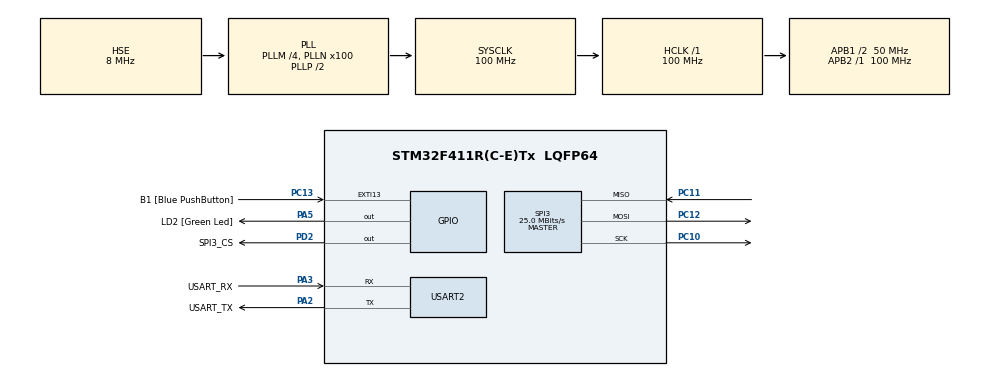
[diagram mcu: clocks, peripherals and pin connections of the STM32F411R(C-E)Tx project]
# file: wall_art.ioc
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Mcu.Family=STM32F4
Mcu.Name=STM32F411R(C-E)Tx
Mcu.Package=LQFP64
NVIC.PriorityGroup=NVIC_PRIORITYGROUP_0
NVIC.USART2_IRQn=true\:0\:0\:false\:false\:true\:true\:true
PA13.GPIO_Label=TMS
PA13.Mode=Serial_Wire
PA13.Signal=SYS_JTMS-SWDIO
PA14.GPIO_Label=TCK
PA14.Mode=Serial_Wire
PA14.Signal=SYS_JTCK-SWCLK
PA2.GPIO_Label=USART_TX
PA2.Mode=Asynchronous
PA2.Signal=USART2_TX
PA3.GPIO_Label=USART_RX
PA3.Mode=Asynchronous
PA3.Signal=USART2_RX
PA5.GPIO_Label=LD2 [Green Led]
PA5.Signal=GPIO_Output
PB3.GPIO_Label=SWO
PB3.Signal=SYS_JTDO-SWO
PC10.Mode=Full_Duplex_Master
PC10.Signal=SPI3_SCK
PC11.Mode=Full_Duplex_Master
PC11.Signal=SPI3_MISO
PC12.Mode=Full_Duplex_Master
PC12.Signal=SPI3_MOSI
PC13-ANTI_TAMP.GPIO_Label=B1 [Blue PushButton]
PC13-ANTI_TAMP.GPIO_ModeDefaultEXTI=GPIO_MODE_IT_FALLING
PC13-ANTI_TAMP.Signal=GPXTI13
PC14-OSC32_IN.Mode=LSE-External-Oscillator
PC14-OSC32_IN.Signal=RCC_OSC32_IN
PC15-OSC32_OUT.Mode=LSE-External-Oscillator
PC15-OSC32_OUT.Signal=RCC_OSC32_OUT
PD2.GPIO_Label=SPI3_CS
PD2.PinState=GPIO_PIN_SET
PD2.Signal=GPIO_Output
PH0\ -\ OSC_IN.Mode=HSE-External-Oscillator
PH0\ -\ OSC_IN.Signal=RCC_OSC_IN
PH1\ -\ OSC_OUT.Mode=HSE-External-Oscillator
PH1\ -\ OSC_OUT.Signal=RCC_OSC_OUT
ProjectManager.HeapSize=0x200
ProjectManager.StackSize=0x400
ProjectManager.TargetToolchain=STM32CubeIDE
RCC.48MHZClocksFreq_Value=50000000
RCC.AHBFreq_Value=100000000
RCC.APB1CLKDivider=RCC_HCLK_DIV2
RCC.APB1Freq_Value=50000000
RCC.APB1TimFreq_Value=100000000
RCC.APB2Freq_Value=100000000
RCC.APB2TimFreq_Value=100000000
RCC.CortexFreq_Value=100000000
RCC.FLatency-AdvancedSettings=FLASH_LATENCY_3
RCC.HCLKFreq_Value=100000000
RCC.HSE_VALUE=8000000
RCC.HSI_VALUE=16000000
RCC.PLLM=4
RCC.PLLN=100
RCC.PLLSourceVirtual=RCC_PLLSOURCE_HSE
RCC.RCC_RTC_Clock_Source=RCC_RTCCLKSOURCE_LSE
RCC.RCC_RTC_Clock_SourceVirtual=RCC_RTCCLKSOURCE_LSE
RCC.SYSCLKFreq_VALUE=100000000
RCC.SYSCLKSource=RCC_SYSCLKSOURCE_PLLCLK
RCC.VCOOutputFreq_Value=200000000
SPI3.CalculateBaudRate=25.0 MBits/s
SPI3.Direction=SPI_DIRECTION_2LINES
SPI3.Mode=SPI_MODE_MASTER
SPI3.VirtualType=VM_MASTER
USART2.VirtualMode=VM_ASYNC
VP_RTC_VS_RTC_Activate.Mode=RTC_Enabled
VP_TIM1_VS_ClockSourceINT.Mode=Internal
board=NUCLEO-F411RE

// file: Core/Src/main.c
/* USER CODE BEGIN Header */
/**
 ******************************************************************************
 * @file           : main.c
 * @brief          : Main program body
 ******************************************************************************
 * @attention
 *
 * <h2><center>&copy; Copyright (c) 2019 STMicroelectronics.
 * All rights reserved.</center></h2>
 *
 * This software component is licensed by ST under BSD 3-Clause license,
 * the "License"; You may not use this file except in compliance with the
 * License. You may obtain a copy of the License at:
 *                        opensource.org/licenses/BSD-3-Clause
 *
 ******************************************************************************
 */
/* USER CODE END Header */

#include "main.h"

/* USER CODE BEGIN Includes */
#include <stdio.h>
#include "Utils/terminal.h"
#include "ws2812.h"
#include "cpp_run.h"
/* USER CODE END Includes */

RTC_HandleTypeDef hrtc;

SPI_HandleTypeDef hspi3;

TIM_HandleTypeDef htim1;

UART_HandleTypeDef huart2;

void SystemClock_Config(void);
static void MX_GPIO_Init(void);
static void MX_USART2_UART_Init(void);
static void MX_RTC_Init(void);
static void MX_SPI3_Init(void);
static void MX_TIM1_Init(void);

int main(void)
{

  /* MCU Configuration--------------------------------------------------------*/

  /* Reset of all peripherals, Initializes the Flash interface and the Systick. */
  HAL_Init();

  /* Configure the system clock */
  SystemClock_Config();

  /* Initialize all configured peripherals */
  MX_GPIO_Init();
  MX_USART2_UART_Init();
  MX_RTC_Init();
  MX_SPI3_Init();
  MX_TIM1_Init();
  /* USER CODE BEGIN 2 */

    setbuf(stdout, 0);
    printf("LED Wall art\n");
    printf("SYSCLOCK: %lu Hz\n", HAL_RCC_GetSysClockFreq());
    printf("HCLOCK  : %lu Hz\n", HAL_RCC_GetHCLKFreq());
    printf("P1CLOCK : %lu Hz\n", HAL_RCC_GetPCLK1Freq());
    printf("P2CLOCK : %lu Hz\n", HAL_RCC_GetPCLK2Freq());

    terminal_init("art $");

    ws2812b_init();
    cpp_init();
  /* USER CODE END 2 */

  /* Infinite loop */
  /* USER CODE BEGIN WHILE */

    while (1)
    {
        terminal_run();
        cpp_run();
    /* USER CODE END WHILE */

    }
}

void SystemClock_Config(void)
{
  RCC_OscInitTypeDef RCC_OscInitStruct = {0};
  RCC_ClkInitTypeDef RCC_ClkInitStruct = {0};
  RCC_PeriphCLKInitTypeDef PeriphClkInitStruct = {0};

  /** Configure the main internal regulator output voltage
  */
  __HAL_RCC_PWR_CLK_ENABLE();
  __HAL_PWR_VOLTAGESCALING_CONFIG(PWR_REGULATOR_VOLTAGE_SCALE1);
  /** Initializes the CPU, AHB and APB busses clocks
  */
  RCC_OscInitStruct.OscillatorType = RCC_OSCILLATORTYPE_HSE|RCC_OSCILLATORTYPE_LSE;
  RCC_OscInitStruct.HSEState = RCC_HSE_ON;
  RCC_OscInitStruct.LSEState = RCC_LSE_ON;
  RCC_OscInitStruct.PLL.PLLState = RCC_PLL_ON;
  RCC_OscInitStruct.PLL.PLLSource = RCC_PLLSOURCE_HSE;
  RCC_OscInitStruct.PLL.PLLM = 4;
  RCC_OscInitStruct.PLL.PLLN = 100;
  RCC_OscInitStruct.PLL.PLLP = RCC_PLLP_DIV2;
  RCC_OscInitStruct.PLL.PLLQ = 4;
  if (HAL_RCC_OscConfig(&RCC_OscInitStruct) != HAL_OK)
  {
    Error_Handler();
  }
  /** Initializes the CPU, AHB and APB busses clocks
  */
  RCC_ClkInitStruct.ClockType = RCC_CLOCKTYPE_HCLK|RCC_CLOCKTYPE_SYSCLK
                              |RCC_CLOCKTYPE_PCLK1|RCC_CLOCKTYPE_PCLK2;
  RCC_ClkInitStruct.SYSCLKSource = RCC_SYSCLKSOURCE_PLLCLK;
  RCC_ClkInitStruct.AHBCLKDivider = RCC_SYSCLK_DIV1;
  RCC_ClkInitStruct.APB1CLKDivider = RCC_HCLK_DIV2;
  RCC_ClkInitStruct.APB2CLKDivider = RCC_HCLK_DIV1;

  if (HAL_RCC_ClockConfig(&RCC_ClkInitStruct, FLASH_LATENCY_3) != HAL_OK)
  {
    Error_Handler();
  }
  PeriphClkInitStruct.PeriphClockSelection = RCC_PERIPHCLK_RTC;
  PeriphClkInitStruct.RTCClockSelection = RCC_RTCCLKSOURCE_LSE;
  if (HAL_RCCEx_PeriphCLKConfig(&PeriphClkInitStruct) != HAL_OK)
  {
    Error_Handler();
  }
}

static void MX_RTC_Init(void)
{

  /** Initialize RTC Only
  */
  hrtc.Instance = RTC;
  hrtc.Init.HourFormat = RTC_HOURFORMAT_24;
  hrtc.Init.AsynchPrediv = 127;
  hrtc.Init.SynchPrediv = 255;
  hrtc.Init.OutPut = RTC_OUTPUT_DISABLE;
  hrtc.Init.OutPutPolarity = RTC_OUTPUT_POLARITY_HIGH;
  hrtc.Init.OutPutType = RTC_OUTPUT_TYPE_OPENDRAIN;
  if (HAL_RTC_Init(&hrtc) != HAL_OK)
  {
    Error_Handler();
  }

}

static void MX_SPI3_Init(void)
{

  /* SPI3 parameter configuration*/
  hspi3.Instance = SPI3;
  hspi3.Init.Mode = SPI_MODE_MASTER;
  hspi3.Init.Direction = SPI_DIRECTION_2LINES;
  hspi3.Init.DataSize = SPI_DATASIZE_8BIT;
  hspi3.Init.CLKPolarity = SPI_POLARITY_LOW;
  hspi3.Init.CLKPhase = SPI_PHASE_1EDGE;
  hspi3.Init.NSS = SPI_NSS_SOFT;
  hspi3.Init.BaudRatePrescaler = SPI_BAUDRATEPRESCALER_2;
  hspi3.Init.FirstBit = SPI_FIRSTBIT_MSB;
  hspi3.Init.TIMode = SPI_TIMODE_DISABLE;
  hspi3.Init.CRCCalculation = SPI_CRCCALCULATION_DISABLE;
  hspi3.Init.CRCPolynomial = 10;
  if (HAL_SPI_Init(&hspi3) != HAL_OK)
  {
    Error_Handler();
  }

}

static void MX_TIM1_Init(void)
{

  TIM_ClockConfigTypeDef sClockSourceConfig = {0};
  TIM_MasterConfigTypeDef sMasterConfig = {0};

  htim1.Instance = TIM1;
  htim1.Init.Prescaler = 0;
  htim1.Init.CounterMode = TIM_COUNTERMODE_UP;
  htim1.Init.Period = 0;
  htim1.Init.ClockDivision = TIM_CLOCKDIVISION_DIV1;
  htim1.Init.RepetitionCounter = 0;
  htim1.Init.AutoReloadPreload = TIM_AUTORELOAD_PRELOAD_DISABLE;
  if (HAL_TIM_Base_Init(&htim1) != HAL_OK)
  {
    Error_Handler();
  }
  sClockSourceConfig.ClockSource = TIM_CLOCKSOURCE_INTERNAL;
  if (HAL_TIM_ConfigClockSource(&htim1, &sClockSourceConfig) != HAL_OK)
  {
    Error_Handler();
  }
  sMasterConfig.MasterOutputTrigger = TIM_TRGO_RESET;
  sMasterConfig.MasterSlaveMode = TIM_MASTERSLAVEMODE_DISABLE;
  if (HAL_TIMEx_MasterConfigSynchronization(&htim1, &sMasterConfig) != HAL_OK)
  {
    Error_Handler();
  }

}

static void MX_USART2_UART_Init(void)
{

  huart2.Instance = USART2;
  huart2.Init.BaudRate = 115200;
  huart2.Init.WordLength = UART_WORDLENGTH_8B;
  huart2.Init.StopBits = UART_STOPBITS_1;
  huart2.Init.Parity = UART_PARITY_NONE;
  huart2.Init.Mode = UART_MODE_TX_RX;
  huart2.Init.HwFlowCtl = UART_HWCONTROL_NONE;
  huart2.Init.OverSampling = UART_OVERSAMPLING_16;
  if (HAL_UART_Init(&huart2) != HAL_OK)
  {
    Error_Handler();
  }
  /* USER CODE BEGIN USART2_Init 2 */
    __HAL_UART_ENABLE_IT(&huart2, UART_IT_RXNE);
  /* USER CODE END USART2_Init 2 */

}

static void MX_GPIO_Init(void)
{
  GPIO_InitTypeDef GPIO_InitStruct = {0};

  /* GPIO Ports Clock Enable */
  __HAL_RCC_GPIOC_CLK_ENABLE();
  __HAL_RCC_GPIOH_CLK_ENABLE();
  __HAL_RCC_GPIOA_CLK_ENABLE();
  __HAL_RCC_GPIOD_CLK_ENABLE();
  __HAL_RCC_GPIOB_CLK_ENABLE();

  /*Configure GPIO pin Output Level */
  HAL_GPIO_WritePin(LD2_GPIO_Port, LD2_Pin, GPIO_PIN_RESET);

  /*Configure GPIO pin Output Level */
  HAL_GPIO_WritePin(SPI3_CS_GPIO_Port, SPI3_CS_Pin, GPIO_PIN_SET);

  /*Configure GPIO pin : B1_Pin */
  GPIO_InitStruct.Pin = B1_Pin;
  GPIO_InitStruct.Mode = GPIO_MODE_IT_FALLING;
  GPIO_InitStruct.Pull = GPIO_NOPULL;
  HAL_GPIO_Init(B1_GPIO_Port, &GPIO_InitStruct);

  /*Configure GPIO pin : LD2_Pin */
  GPIO_InitStruct.Pin = LD2_Pin;
  GPIO_InitStruct.Mode = GPIO_MODE_OUTPUT_PP;
  GPIO_InitStruct.Pull = GPIO_NOPULL;
  GPIO_InitStruct.Speed = GPIO_SPEED_FREQ_LOW;
  HAL_GPIO_Init(LD2_GPIO_Port, &GPIO_InitStruct);

  /*Configure GPIO pin : SPI3_CS_Pin */
  GPIO_InitStruct.Pin = SPI3_CS_Pin;
  GPIO_InitStruct.Mode = GPIO_MODE_OUTPUT_PP;
  GPIO_InitStruct.Pull = GPIO_NOPULL;
  GPIO_InitStruct.Speed = GPIO_SPEED_FREQ_LOW;
  HAL_GPIO_Init(SPI3_CS_GPIO_Port, &GPIO_InitStruct);

}

/* USER CODE BEGIN 4 */
int __io_putchar(int ch)
{
    if(ch == '\r')
    {
        uint8_t byte = '\n';
        HAL_UART_Transmit(&huart2, &byte, 1, 100);
    }
    if(ch == '\n')
    {
        uint8_t byte = '\r';
        HAL_UART_Transmit(&huart2, &byte, 1, 100);
    }

    HAL_UART_Transmit(&huart2, (uint8_t*)&ch, 1, 100);

    return 0;
}

/* USER CODE END 4 */

void Error_Handler(void)
{
}

/************************ (C) COPYRIGHT STMicroelectronics *****END OF FILE****/
